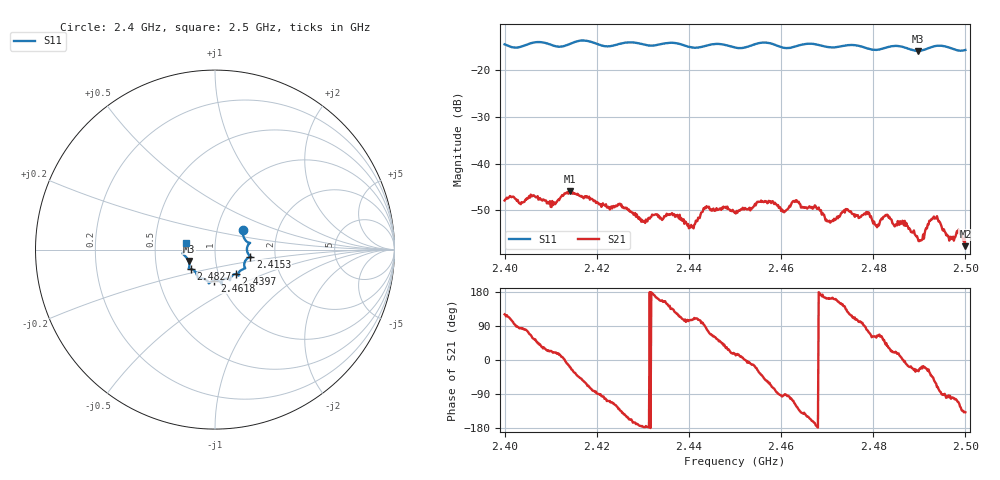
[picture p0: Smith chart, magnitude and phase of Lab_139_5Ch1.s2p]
# Hz S RI R 50
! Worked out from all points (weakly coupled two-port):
!   601 points, 2.4 GHz to 2.5 GHz, reference 50 ohm
!   highest |S21| = -45.94 dB at 2.4142 GHz (marker M1); lowest = -57.7 dB at 2.5 GHz (marker M2)
!   lowest |S11| = -15.9 dB at 2.4897 GHz (marker M3), VSWR 1.38, Z = 36.9 - j4.84 ohm
!   |S11| at or under -10 dB: start of sweep to end of sweep
!   S12 and S22 are empty: the file has one direction only
!   S11 on the Smith chart (normalised r, x): 2.4 GHz: 1.33, +0.30; 2.4153 GHz: 1.48, -0.12; 2.4397 GHz: 1.21, -0.34; 2.4618 GHz: 0.94, -0.33; 2.4827 GHz: 0.75, -0.17; 2.5 GHz: 0.72, +0.06
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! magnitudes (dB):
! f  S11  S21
! 2.4 GHz  -14.5  -47.9
! 2.4105 GHz  -14.7  -48.9
! 2.4142 GHz  -14.4  -45.9
! 2.4153 GHz  -14.0  -46.5
! 2.4167 GHz  -13.7  -47.0
! 2.43 GHz  -14.5  -52.4
! 2.4333 GHz  -14.6  -51.4
! 2.4397 GHz  -14.9  -53.3
! 2.4438 GHz  -14.7  -49.1
! 2.45 GHz  -15.2  -50.4
! 2.4618 GHz  -15.3  -49.1
! 2.4667 GHz  -14.4  -49.3
! 2.4705 GHz  -15.1  -52.3
! 2.474 GHz  -14.7  -49.8
! 2.4808 GHz  -15.7  -53.7
! 2.4827 GHz  -15.2  -51.0
! 2.4833 GHz  -15.0  -51.6
! 2.4897 GHz  -15.9  -56.0
! 2.4935 GHz  -14.9  -51.7
! 2.4962 GHz  -15.1  -55.5
! 2.4987 GHz  -15.8  -54.6
! 2.5 GHz  -15.7  -57.7
